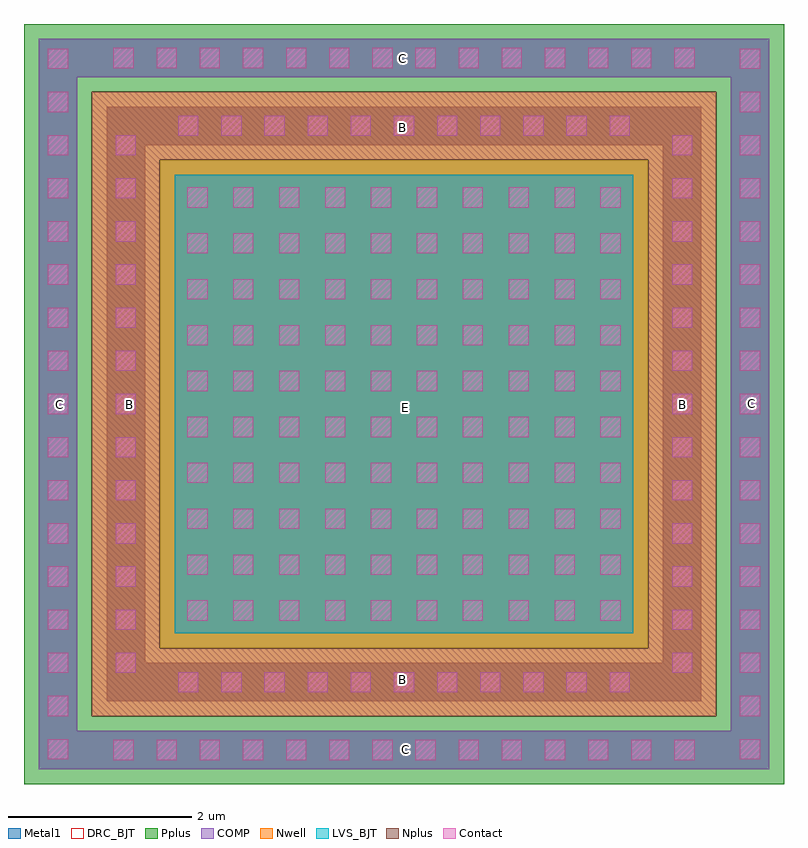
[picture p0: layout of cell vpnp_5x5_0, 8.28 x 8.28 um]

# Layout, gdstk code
import gdstk
lib = gdstk.Library(unit=1e-6, precision=1e-09)
def R(c, l, rs):  # rectangles x0, y0, x1, y1
    for r in rs: c.add(gdstk.rectangle(r[:2], r[2:], *l))
def A(c, l, x, y, w, h, nx, ny, dx, dy):  # array of equal rectangles
    R(c, l, [(x+i*dx, y+j*dy, x+i*dx+w, y+j*dy+h) for i in range(nx) for j in range(ny)])
def P(c, l, *ps):  # polygons
    for p in ps: c.add(gdstk.Polygon(p, *l))
Nwell = (21, 0)
COMP = (22, 0)
Pplus = (31, 0)
Nplus = (32, 0)
Contact = (33, 0)
Metal1 = (34, 0)
LVS_BJT = (118, 5)
DRC_BJT = (127, 5)

vpnp_5x5_0 = lib.new_cell('vpnp_5x5_0')
R(vpnp_5x5_0, Nwell, [(-3.4,-3.4,3.4,3.4)])
R(vpnp_5x5_0, COMP, [(-2.5,-2.5,2.5,2.5)])
P(vpnp_5x5_0, COMP, [(-3.24,-3.24),(-3.24,3.24),(2.82,3.24),(2.82,2.82),(-2.82,2.82),(-2.82,-2.82),(2.82,-2.82),(2.82,3.24),(3.24,3.24),(3.24,-3.24)],
  [(-3.98,-3.98),(-3.98,3.98),(3.56,3.98),(3.56,3.56),(-3.56,3.56),(-3.56,-3.56),(3.56,-3.56),(3.56,3.98),(3.98,3.98),(3.98,-3.98)])
R(vpnp_5x5_0, Pplus, [(-2.66,-2.66,2.66,2.66)])
P(vpnp_5x5_0, Pplus, [(-4.14,-4.14),(-4.14,4.14),(3.4,4.14),(3.4,3.4),(-3.4,3.4),(-3.4,-3.4),(3.4,-3.4),(3.4,4.14),(4.14,4.14),(4.14,-4.14)])
P(vpnp_5x5_0, Nplus, [(-3.4,-3.4),(-3.4,3.4),(2.66,3.4),(2.66,2.66),(-2.66,2.66),(-2.66,-2.66),(2.66,-2.66),(2.66,3.4),(3.4,3.4),(3.4,-3.4)])
A(vpnp_5x5_0, Contact, -3.165, -3.88, 0.22, 0.22, 14, 2, 0.47, 7.54)
A(vpnp_5x5_0, Contact, -3.88, -3.87, 0.22, 0.22, 1, 17, 0, 0.47)
A(vpnp_5x5_0, Contact, 3.66, -3.87, 0.22, 0.22, 1, 17, 0, 0.47)
A(vpnp_5x5_0, Contact, -2.46, -3.14, 0.22, 0.22, 11, 2, 0.47, 6.06)
A(vpnp_5x5_0, Contact, -3.14, -2.93, 0.22, 0.22, 1, 13, 0, 0.47)
A(vpnp_5x5_0, Contact, 2.92, -2.93, 0.22, 0.22, 1, 13, 0, 0.47)
A(vpnp_5x5_0, Contact, -2.36, -2.36, 0.22, 0.22, 10, 10, 0.5, 0.5)
R(vpnp_5x5_0, Metal1, [(-3.98,-3.98,3.98,-3.56), (-3.98,-3.98,-3.56,3.98), (3.56,-3.98,3.98,3.98), (-3.24,-3.24,3.24,-2.82), (-3.24,-3.24,-2.82,3.24), (2.82,-3.24,3.24,3.24), (-2.5,-2.5,2.5,2.5), (-2.5,-2.5,2.5,2.5), (-3.24,2.82,3.24,3.24), (-3.98,3.56,3.98,3.98)])
P(vpnp_5x5_0, Metal1, [(-3.24,-3.24),(-3.24,3.24),(2.82,3.24),(2.82,2.82),(-2.82,2.82),(-2.82,-2.82),(2.82,-2.82),(2.82,3.24),(3.24,3.24),(3.24,-3.24)],
  [(-3.98,-3.98),(-3.98,3.98),(3.56,3.98),(3.56,3.56),(-3.56,3.56),(-3.56,-3.56),(3.56,-3.56),(3.56,3.98),(3.98,3.98),(3.98,-3.98)])
R(vpnp_5x5_0, LVS_BJT, [(-2.5,-2.5,2.5,2.5)])
R(vpnp_5x5_0, DRC_BJT, [(-4.14,-4.14,4.14,4.14)])
vpnp_5x5_0.add(gdstk.Label('E', (0.015,-0.04), layer=34, texttype=0))
vpnp_5x5_0.add(gdstk.Label('B', (-0.015,3.015), layer=34, texttype=0))
vpnp_5x5_0.add(gdstk.Label('B', (3.035,-0.01), layer=34, texttype=0))
vpnp_5x5_0.add(gdstk.Label('B', (-0.015,-3), layer=34, texttype=0))
vpnp_5x5_0.add(gdstk.Label('B', (-2.99,-0.01), layer=34, texttype=0))
vpnp_5x5_0.add(gdstk.Label('C', (0.015,-3.76), layer=34, texttype=0))
vpnp_5x5_0.add(gdstk.Label('C', (3.785,0.01), layer=34, texttype=0))
vpnp_5x5_0.add(gdstk.Label('C', (-0.015,3.76), layer=34, texttype=0))
vpnp_5x5_0.add(gdstk.Label('C', (-3.755,-0.01), layer=34, texttype=0))

lib.write_gds('vpnp_5x5_0.gds')
